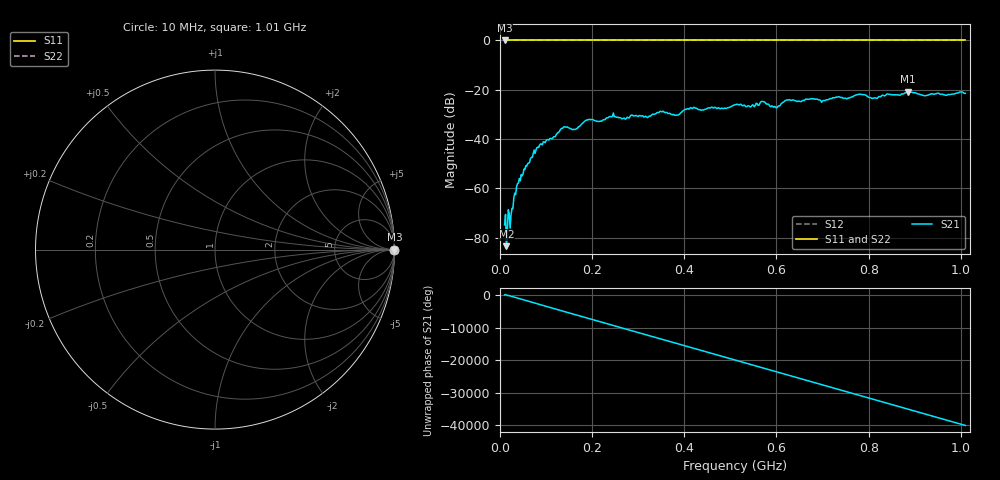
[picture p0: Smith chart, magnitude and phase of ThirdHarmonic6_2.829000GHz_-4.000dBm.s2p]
! 8/17/2025 7:31:51 AM
! C:\ANRITSUVNA\TEMP\TEMP.S2P
! CHANNEL.1
! TR.MEASUREMENT
! RAW.DATA
! RF.CORRECTION.OFF
! AVERAGING.OFF
! IF.BANDWIDTH: 5KHZ
! SWEEPTYPE:  FREQ.SWEEP(Linear)
! Reference Plane Port Info
! PORT:  PORT1  PORT2
! DISTANCE:  0  m  0  m
! TIME:  0  s  0  s
! PHASE.OFFSET:  0  deg.  0  deg.
! LOSS:  0  dB  0  dB
! REF.LOSS:  0  dB  0  dB
! REF.FREQ:  0  Hz  0  Hz
! Power Info
! POWER:  -20  dBm  -20  dBm
! EFF.POWER:  -20  dBm  -20  dBm
! SOURCE.ATTEN:  0  dB  0  dB
! TEST.ATTEN:  0  dB  0  dB
# GHZ S RI R 50.0
! FREQ.GHZ  S11RE  S11IM  S21RE  S21IM  S12RE  S12IM  S22RE  S22IM
!; PortSelection: Port_12
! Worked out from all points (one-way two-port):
!   501 points, 10 MHz to 1.01 GHz, reference 50 ohm
!   highest |S21| = -20.83 dB at 886 MHz (marker M1); lowest = -83.4 dB at 14 MHz (marker M2)
!   lowest |S11| = 0.0 dB at 10 MHz (marker M3)
!   |S11| at or under -10 dB: nowhere
!   |S22| runs from 0.0 to 0.0 dB; largest |S21 - S12| = 1.1
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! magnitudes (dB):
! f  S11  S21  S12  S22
! 10 MHz  0.0  -74.8  0.0  0.0
! 14 MHz  0.0  -83.4  0.0  0.0
! 18 MHz  0.0  -68.6  0.0  0.0
! 24 MHz  0.0  -70.7  0.0  0.0
! 34 MHz  0.0  -62.5  0.0  0.0
! 42 MHz  0.0  -56.0  0.0  0.0
! 78 MHz  0.0  -44.5  0.0  0.0
! 136 MHz  0.0  -35.6  0.0  0.0
! 162 MHz  0.0  -36.1  0.0  0.0
! 178 MHz  0.0  -33.7  0.0  0.0
! 242 MHz  0.0  -30.9  0.0  0.0
! 344 MHz  0.0  -29.3  0.0  0.0
! 384 MHz  0.0  -30.2  0.0  0.0
! 410 MHz  0.0  -27.9  0.0  0.0
! 510 MHz  0.0  -26.1  0.0  0.0
! 570 MHz  0.0  -24.7  0.0  0.0
! 598 MHz  0.0  -27.0  0.0  0.0
! 624 MHz  0.0  -24.1  0.0  0.0
! 678 MHz  0.0  -23.6  0.0  0.0
! 844 MHz  0.0  -21.9  0.0  0.0
! 886 MHz  0.0  -20.8  0.0  0.0
! 1.01 GHz  0.0  -21.4  0.0  0.0
